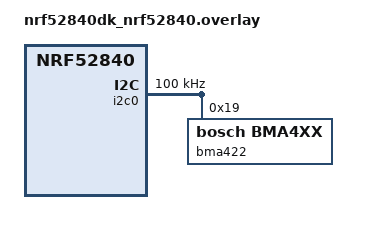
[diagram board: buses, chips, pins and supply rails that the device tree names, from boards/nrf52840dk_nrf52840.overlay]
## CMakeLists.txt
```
# SPDX-License-Identifier: Apache-2.0

cmake_minimum_required(VERSION 3.20.0)
find_package(Zephyr REQUIRED HINTS $ENV{ZEPHYR_BASE})
project(bma422)

FILE(GLOB app_sources src/*.c)
target_sources(app PRIVATE ${app_sources})
```

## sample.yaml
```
sample:
  name: BMA422 Sensor sample
tests:
  sample.sensor.bma422:
    harness: sensor
    tags:
      - samples
      - sensor
    depends_on: i2c
```

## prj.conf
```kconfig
CONFIG_SENSOR=y
CONFIG_SENSOR_ASYNC_API=y
CONFIG_SENSOR_SHELL=y

CONFIG_SHELL=y
CONFIG_LOG=y
CONFIG_LOG_PRINTK=y

CONFIG_I2C=y

CONFIG_BMA4XX_TEMPERATURE=y
```

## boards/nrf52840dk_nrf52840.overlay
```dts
/*
 * Copyright (c) 2023 Google LLC
 *
 * SPDX-License-Identifier: Apache-2.0
 */

&i2c0 {
        clock-frequency = <I2C_BITRATE_STANDARD>;

        bma422@19 {
                compatible = "bosch,bma4xx", "bosch,bma422";

                /* If SDO pin low, addr is 0x18; if high, addr is 0x19 */
                reg = <0x19>;
		status = "okay";
        };
};
```

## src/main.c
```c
/*
 * Copyright (c) 2023 Google LLC
 *
 * SPDX-License-Identifier: Apache-2.0
 */

#include <zephyr/kernel.h>
#include <zephyr/device.h>
#include <zephyr/devicetree.h>
#include <zephyr/drivers/sensor.h>


int main(void)
{
	while (1) {
		k_sleep(K_MSEC(1000));
	}

	return 0;
}
```
